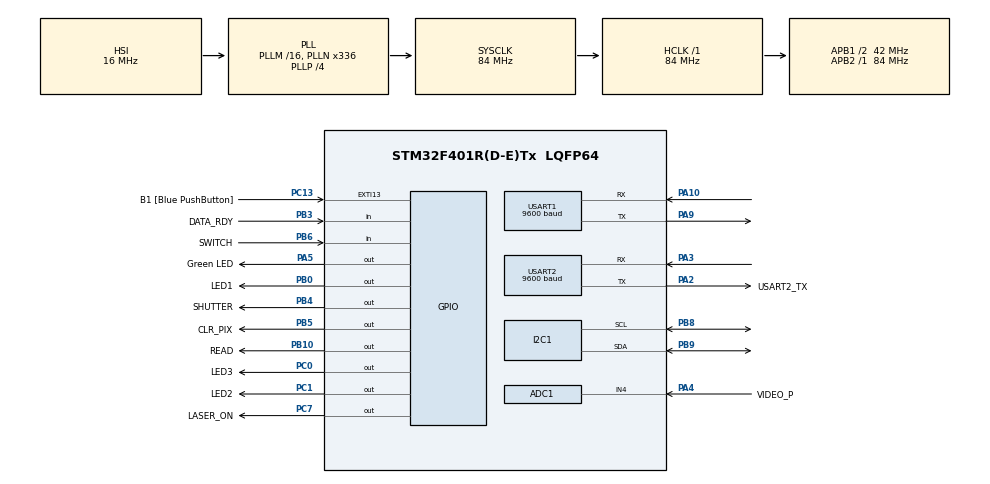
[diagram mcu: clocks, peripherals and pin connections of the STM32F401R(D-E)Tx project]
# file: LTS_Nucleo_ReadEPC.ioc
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ADC1.Channel-2\#ChannelRegularConversion=ADC_CHANNEL_4
ADC1.NbrOfConversionFlag=1
ADC1.Rank-2\#ChannelRegularConversion=1
ADC1.SamplingTime-2\#ChannelRegularConversion=ADC_SAMPLETIME_3CYCLES
ADC1.master=1
I2C1.I2C_Mode=I2C_Fast
Mcu.Family=STM32F4
Mcu.Name=STM32F401R(D-E)Tx
Mcu.Package=LQFP64
NVIC.PriorityGroup=NVIC_PRIORITYGROUP_0
PA10.Mode=Asynchronous
PA10.Signal=USART1_RX
PA13.GPIO_Label=TMS
PA13.Signal=SYS_JTMS-SWDIO
PA14.GPIO_Label=TCK
PA14.Signal=SYS_JTCK-SWCLK
PA2.GPIO_Label=USART2_TX
PA2.GPIO_Mode=GPIO_MODE_AF_PP
PA2.GPIO_PuPd=GPIO_NOPULL
PA2.GPIO_Speed=GPIO_SPEED_FREQ_LOW
PA2.Mode=Asynchronous
PA2.Signal=USART2_TX
PA3.Mode=Asynchronous
PA3.Signal=USART2_RX
PA4.GPIO_Label=VIDEO_P
PA4.Signal=SharedAnalog_PA4
PA5.GPIO_Label=Green LED
PA5.Signal=GPIO_Output
PA9.Mode=Asynchronous
PA9.Signal=USART1_TX
PB0.GPIO_Label=LED1
PB0.Signal=GPIO_Output
PB10.GPIO_Label=READ
PB10.Signal=GPIO_Output
PB3.GPIO_Label=DATA_RDY
PB3.Signal=GPIO_Input
PB4.GPIO_Label=SHUTTER
PB4.Signal=GPIO_Output
PB5.GPIO_Label=CLR_PIX
PB5.Signal=GPIO_Output
PB6.GPIO_Label=SWITCH
PB6.Signal=GPIO_Input
PB8.Mode=I2C
PB8.Signal=I2C1_SCL
PB9.Mode=I2C
PB9.Signal=I2C1_SDA
PC0.GPIO_Label=LED3
PC0.Signal=GPIO_Output
PC1.GPIO_Label=LED2
PC1.Signal=GPIO_Output
PC13-ANTI_TAMP.GPIO_Label=B1 [Blue PushButton]
PC13-ANTI_TAMP.GPIO_ModeDefaultEXTI=GPIO_MODE_IT_FALLING
PC13-ANTI_TAMP.GPIO_PuPd=GPIO_NOPULL
PC13-ANTI_TAMP.Signal=GPXTI13
PC14-OSC32_IN.Signal=RCC_OSC32_IN
PC15-OSC32_OUT.Signal=RCC_OSC32_OUT
PC7.GPIO_Label=LASER_ON
PC7.Signal=GPIO_Output
PH0\ -\ OSC_IN.Signal=RCC_OSC_IN
PH1\ -\ OSC_OUT.Signal=RCC_OSC_OUT
ProjectManager.HeapSize=0x200
ProjectManager.StackSize=0x400
ProjectManager.TargetToolchain=STM32CubeIDE
RCC.AHBFreq_Value=84000000
RCC.APB1CLKDivider=RCC_HCLK_DIV2
RCC.APB1Freq_Value=42000000
RCC.APB1TimFreq_Value=84000000
RCC.APB2Freq_Value=84000000
RCC.APB2TimFreq_Value=84000000
RCC.CortexFreq_Value=84000000
RCC.HCLKFreq_Value=84000000
RCC.HSE_VALUE=8000000
RCC.HSI_VALUE=16000000
RCC.LSE_VALUE=32768
RCC.PLLN=336
RCC.PLLP=RCC_PLLP_DIV4
RCC.PLLQ=7
RCC.SYSCLKFreq_VALUE=84000000
RCC.SYSCLKSource=RCC_SYSCLKSOURCE_PLLCLK
RCC.VCOOutputFreq_Value=336000000
SH.SharedAnalog_PA4.0=GPIO_Analog
SH.SharedAnalog_PA4.1=ADC1_IN4,IN4
TIM9.Prescaler=84-1
USART1.BaudRate=9600
USART1.VirtualMode=VM_ASYNC
USART2.BaudRate=9600
USART2.VirtualMode=VM_ASYNC
VP_TIM9_VS_ClockSourceINT.Mode=Internal
board=NUCLEO-F401RE

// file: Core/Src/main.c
/* USER CODE BEGIN Header */
/**
 ******************************************************************************
 * @file           : main.c
 * @brief          : Main program body
 ******************************************************************************
 * @attention
 *
 * Copyright (c) 2024 STMicroelectronics.
 * All rights reserved.
 *
 * This software is licensed under terms that can be found in the LICENSE file
 * in the root directory of this software component.
 * If no LICENSE file comes with this software, it is provided AS-IS.
 *
 ******************************************************************************
 */
/* USER CODE END Header */
#include "main.h"

/* USER CODE BEGIN Includes */
#include <stdio.h>
#include <stdbool.h>
#include "epc901.h"
#include "ssd1306.h"
#include "bluefruitUART.h"
/* USER CODE END Includes */

ADC_HandleTypeDef hadc1;

I2C_HandleTypeDef hi2c1;

TIM_HandleTypeDef htim9;

UART_HandleTypeDef huart1;
UART_HandleTypeDef huart2;

void SystemClock_Config(void);
static void MX_GPIO_Init(void);
static void MX_I2C1_Init(void);
static void MX_USART2_UART_Init(void);
static void MX_ADC1_Init(void);
static void MX_TIM9_Init(void);
static void MX_USART1_UART_Init(void);

/* USER CODE BEGIN 0 */
// Prototype implementation
#ifdef __GNUC__
/* With GCC/RAISONANCE, small printf (option LD Linker->Libraries->Small printf
 set to 'Yes') calls __io_putchar() */
#define PUTCHAR_PROTOTYPE int __io_putchar(int ch)
#else
#define PUTCHAR_PROTOTYPE int fputc(int ch, FILE *f)
#endif /* __GNUC__ */
/* USER CODE END 0 */

int main(void)
{

  /* USER CODE BEGIN 1 */
	uint16_t distance = 300;
	uint16_t shutterTime = 500;
	bool bluetoothConnection = false;
  /* USER CODE END 1 */

  /* MCU Configuration--------------------------------------------------------*/

  /* Reset of all peripherals, Initializes the Flash interface and the Systick. */
  HAL_Init();

  /* Configure the system clock */
  SystemClock_Config();

  /* Initialize all configured peripherals */
  MX_GPIO_Init();
  MX_I2C1_Init();
  MX_USART2_UART_Init();
  MX_ADC1_Init();
  MX_TIM9_Init();
  MX_USART1_UART_Init();
  /* USER CODE BEGIN 2 */
	// Init the display and show startup screen
	SSD1306_Init();
	SSD1306_InitScreen();
	// Init the other elements
	HAL_TIM_Base_Start(&htim9);
	HAL_GPIO_WritePin(LASER_ON_GPIO_Port, LASER_ON_Pin, GPIO_PIN_RESET);
	HAL_GPIO_WritePin(LED1_GPIO_Port, LED1_Pin, GPIO_PIN_SET);
	HAL_GPIO_WritePin(LED2_GPIO_Port, LED2_Pin, GPIO_PIN_RESET);
	HAL_GPIO_WritePin(LED3_GPIO_Port, LED3_Pin, GPIO_PIN_SET);
	epc901_init();
	// wait to show startup screen
	HAL_Delay(2000);
	SSD1306_Clear();
	printf("Init sucessfull\n\r");
  /* USER CODE END 2 */

  /* Infinite loop */
  /* USER CODE BEGIN WHILE */
	while (1) {
		// Read the Data from the epc901
		//epc901_getData(shutterTime);
		// write to the display
		//SSD1306_PrintMeasurements(distance, bluetoothConnection);
		bluetoothConnection = bluefruit_hasConnection();
		if (bluetoothConnection) {
			bluefruit_writeMeasurements(distance);
		}
		distance += 1;
		if (distance > 1000) {
			distance = 300;
		}
    /* USER CODE END WHILE */

	}
}

void SystemClock_Config(void)
{
  RCC_OscInitTypeDef RCC_OscInitStruct = {0};
  RCC_ClkInitTypeDef RCC_ClkInitStruct = {0};

  /** Configure the main internal regulator output voltage
  */
  __HAL_RCC_PWR_CLK_ENABLE();
  __HAL_PWR_VOLTAGESCALING_CONFIG(PWR_REGULATOR_VOLTAGE_SCALE2);

  /** Initializes the RCC Oscillators according to the specified parameters
  * in the RCC_OscInitTypeDef structure.
  */
  RCC_OscInitStruct.OscillatorType = RCC_OSCILLATORTYPE_HSI;
  RCC_OscInitStruct.HSIState = RCC_HSI_ON;
  RCC_OscInitStruct.HSICalibrationValue = RCC_HSICALIBRATION_DEFAULT;
  RCC_OscInitStruct.PLL.PLLState = RCC_PLL_ON;
  RCC_OscInitStruct.PLL.PLLSource = RCC_PLLSOURCE_HSI;
  RCC_OscInitStruct.PLL.PLLM = 16;
  RCC_OscInitStruct.PLL.PLLN = 336;
  RCC_OscInitStruct.PLL.PLLP = RCC_PLLP_DIV4;
  RCC_OscInitStruct.PLL.PLLQ = 7;
  if (HAL_RCC_OscConfig(&RCC_OscInitStruct) != HAL_OK)
  {
    Error_Handler();
  }

  /** Initializes the CPU, AHB and APB buses clocks
  */
  RCC_ClkInitStruct.ClockType = RCC_CLOCKTYPE_HCLK|RCC_CLOCKTYPE_SYSCLK
                              |RCC_CLOCKTYPE_PCLK1|RCC_CLOCKTYPE_PCLK2;
  RCC_ClkInitStruct.SYSCLKSource = RCC_SYSCLKSOURCE_PLLCLK;
  RCC_ClkInitStruct.AHBCLKDivider = RCC_SYSCLK_DIV1;
  RCC_ClkInitStruct.APB1CLKDivider = RCC_HCLK_DIV2;
  RCC_ClkInitStruct.APB2CLKDivider = RCC_HCLK_DIV1;

  if (HAL_RCC_ClockConfig(&RCC_ClkInitStruct, FLASH_LATENCY_2) != HAL_OK)
  {
    Error_Handler();
  }
}

static void MX_ADC1_Init(void)
{

  ADC_ChannelConfTypeDef sConfig = {0};

  /** Configure the global features of the ADC (Clock, Resolution, Data Alignment and number of conversion)
  */
  hadc1.Instance = ADC1;
  hadc1.Init.ClockPrescaler = ADC_CLOCK_SYNC_PCLK_DIV4;
  hadc1.Init.Resolution = ADC_RESOLUTION_12B;
  hadc1.Init.ScanConvMode = DISABLE;
  hadc1.Init.ContinuousConvMode = DISABLE;
  hadc1.Init.DiscontinuousConvMode = DISABLE;
  hadc1.Init.ExternalTrigConvEdge = ADC_EXTERNALTRIGCONVEDGE_NONE;
  hadc1.Init.ExternalTrigConv = ADC_SOFTWARE_START;
  hadc1.Init.DataAlign = ADC_DATAALIGN_RIGHT;
  hadc1.Init.NbrOfConversion = 1;
  hadc1.Init.DMAContinuousRequests = DISABLE;
  hadc1.Init.EOCSelection = ADC_EOC_SINGLE_CONV;
  if (HAL_ADC_Init(&hadc1) != HAL_OK)
  {
    Error_Handler();
  }

  /** Configure for the selected ADC regular channel its corresponding rank in the sequencer and its sample time.
  */
  sConfig.Channel = ADC_CHANNEL_4;
  sConfig.Rank = 1;
  sConfig.SamplingTime = ADC_SAMPLETIME_3CYCLES;
  if (HAL_ADC_ConfigChannel(&hadc1, &sConfig) != HAL_OK)
  {
    Error_Handler();
  }

}

static void MX_I2C1_Init(void)
{

  hi2c1.Instance = I2C1;
  hi2c1.Init.ClockSpeed = 400000;
  hi2c1.Init.DutyCycle = I2C_DUTYCYCLE_2;
  hi2c1.Init.OwnAddress1 = 0;
  hi2c1.Init.AddressingMode = I2C_ADDRESSINGMODE_7BIT;
  hi2c1.Init.DualAddressMode = I2C_DUALADDRESS_DISABLE;
  hi2c1.Init.OwnAddress2 = 0;
  hi2c1.Init.GeneralCallMode = I2C_GENERALCALL_DISABLE;
  hi2c1.Init.NoStretchMode = I2C_NOSTRETCH_DISABLE;
  if (HAL_I2C_Init(&hi2c1) != HAL_OK)
  {
    Error_Handler();
  }

}

static void MX_TIM9_Init(void)
{

  TIM_ClockConfigTypeDef sClockSourceConfig = {0};

  htim9.Instance = TIM9;
  htim9.Init.Prescaler = 84-1;
  htim9.Init.CounterMode = TIM_COUNTERMODE_UP;
  htim9.Init.Period = 65535;
  htim9.Init.ClockDivision = TIM_CLOCKDIVISION_DIV1;
  htim9.Init.AutoReloadPreload = TIM_AUTORELOAD_PRELOAD_DISABLE;
  if (HAL_TIM_Base_Init(&htim9) != HAL_OK)
  {
    Error_Handler();
  }
  sClockSourceConfig.ClockSource = TIM_CLOCKSOURCE_INTERNAL;
  if (HAL_TIM_ConfigClockSource(&htim9, &sClockSourceConfig) != HAL_OK)
  {
    Error_Handler();
  }

}

static void MX_USART1_UART_Init(void)
{

  huart1.Instance = USART1;
  huart1.Init.BaudRate = 9600;
  huart1.Init.WordLength = UART_WORDLENGTH_8B;
  huart1.Init.StopBits = UART_STOPBITS_1;
  huart1.Init.Parity = UART_PARITY_NONE;
  huart1.Init.Mode = UART_MODE_TX_RX;
  huart1.Init.HwFlowCtl = UART_HWCONTROL_NONE;
  huart1.Init.OverSampling = UART_OVERSAMPLING_16;
  if (HAL_UART_Init(&huart1) != HAL_OK)
  {
    Error_Handler();
  }

}

static void MX_USART2_UART_Init(void)
{

  huart2.Instance = USART2;
  huart2.Init.BaudRate = 9600;
  huart2.Init.WordLength = UART_WORDLENGTH_8B;
  huart2.Init.StopBits = UART_STOPBITS_1;
  huart2.Init.Parity = UART_PARITY_NONE;
  huart2.Init.Mode = UART_MODE_TX_RX;
  huart2.Init.HwFlowCtl = UART_HWCONTROL_NONE;
  huart2.Init.OverSampling = UART_OVERSAMPLING_16;
  if (HAL_UART_Init(&huart2) != HAL_OK)
  {
    Error_Handler();
  }

}

static void MX_GPIO_Init(void)
{
  GPIO_InitTypeDef GPIO_InitStruct = {0};

  /* GPIO Ports Clock Enable */
  __HAL_RCC_GPIOC_CLK_ENABLE();
  __HAL_RCC_GPIOH_CLK_ENABLE();
  __HAL_RCC_GPIOA_CLK_ENABLE();
  __HAL_RCC_GPIOB_CLK_ENABLE();

  /*Configure GPIO pin Output Level */
  HAL_GPIO_WritePin(GPIOC, LED3_Pin|LED2_Pin|LASER_ON_Pin, GPIO_PIN_RESET);

  /*Configure GPIO pin Output Level */
  HAL_GPIO_WritePin(Green_LED_GPIO_Port, Green_LED_Pin, GPIO_PIN_RESET);

  /*Configure GPIO pin Output Level */
  HAL_GPIO_WritePin(GPIOB, LED1_Pin|READ_Pin|SHUTTER_Pin|CLR_PIX_Pin, GPIO_PIN_RESET);

  /*Configure GPIO pin : B1_Pin */
  GPIO_InitStruct.Pin = B1_Pin;
  GPIO_InitStruct.Mode = GPIO_MODE_IT_FALLING;
  GPIO_InitStruct.Pull = GPIO_NOPULL;
  HAL_GPIO_Init(B1_GPIO_Port, &GPIO_InitStruct);

  /*Configure GPIO pins : LED3_Pin LED2_Pin LASER_ON_Pin */
  GPIO_InitStruct.Pin = LED3_Pin|LED2_Pin|LASER_ON_Pin;
  GPIO_InitStruct.Mode = GPIO_MODE_OUTPUT_PP;
  GPIO_InitStruct.Pull = GPIO_NOPULL;
  GPIO_InitStruct.Speed = GPIO_SPEED_FREQ_LOW;
  HAL_GPIO_Init(GPIOC, &GPIO_InitStruct);

  /*Configure GPIO pin : Green_LED_Pin */
  GPIO_InitStruct.Pin = Green_LED_Pin;
  GPIO_InitStruct.Mode = GPIO_MODE_OUTPUT_PP;
  GPIO_InitStruct.Pull = GPIO_NOPULL;
  GPIO_InitStruct.Speed = GPIO_SPEED_FREQ_LOW;
  HAL_GPIO_Init(Green_LED_GPIO_Port, &GPIO_InitStruct);

  /*Configure GPIO pins : LED1_Pin READ_Pin SHUTTER_Pin CLR_PIX_Pin */
  GPIO_InitStruct.Pin = LED1_Pin|READ_Pin|SHUTTER_Pin|CLR_PIX_Pin;
  GPIO_InitStruct.Mode = GPIO_MODE_OUTPUT_PP;
  GPIO_InitStruct.Pull = GPIO_NOPULL;
  GPIO_InitStruct.Speed = GPIO_SPEED_FREQ_LOW;
  HAL_GPIO_Init(GPIOB, &GPIO_InitStruct);

  /*Configure GPIO pins : DATA_RDY_Pin SWITCH_Pin */
  GPIO_InitStruct.Pin = DATA_RDY_Pin|SWITCH_Pin;
  GPIO_InitStruct.Mode = GPIO_MODE_INPUT;
  GPIO_InitStruct.Pull = GPIO_NOPULL;
  HAL_GPIO_Init(GPIOB, &GPIO_InitStruct);

}

/* USER CODE BEGIN 4 */
/**
 * @brief Retargets the C library printf function to the USART.
 * @param None
 * @retval None
 */
PUTCHAR_PROTOTYPE {
	/* Place your implementation of fputc here */
	/* e.g. write a character to the USART2 and Loop until the end of transmission */
	HAL_UART_Transmit(&huart2, (uint8_t*) &ch, 1, 0xFFFF);
	return ch;
}
/* USER CODE END 4 */

void Error_Handler(void)
{
	__disable_irq();
	while (1) {
	}
}
